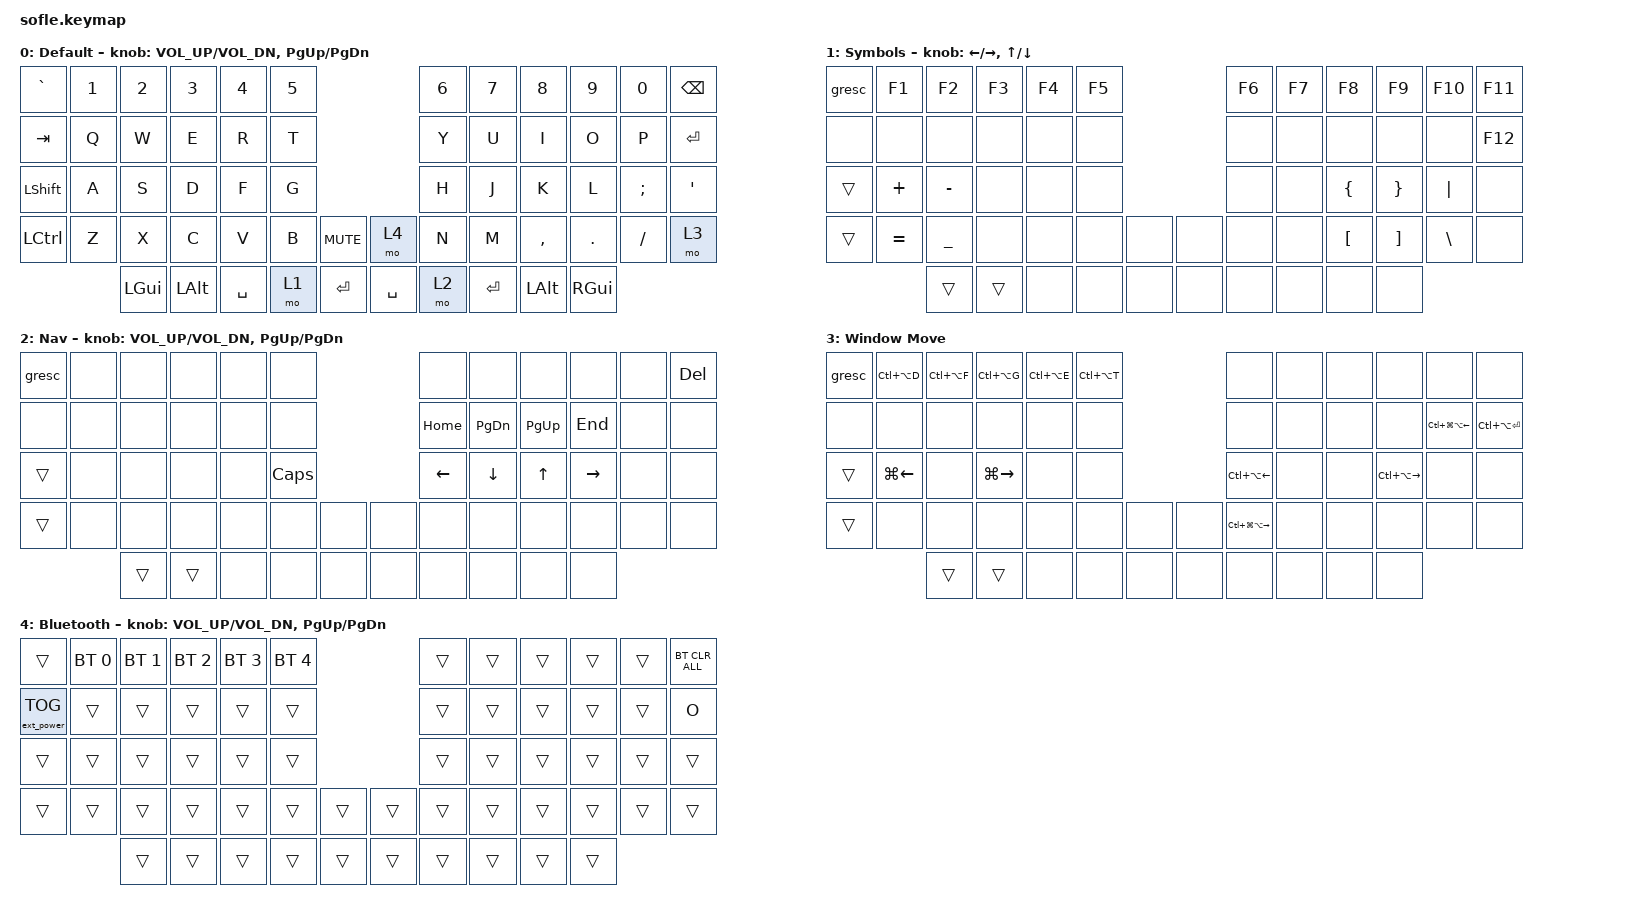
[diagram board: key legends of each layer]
/*
 * Copyright (c) 2020 The ZMK Contributors
 *
 * SPDX-License-Identifier: MIT
 */

#include <behaviors.dtsi>
#include <dt-bindings/zmk/bt.h>
#include <dt-bindings/zmk/ext_power.h>
#include <dt-bindings/zmk/keys.h>

#define BASE 0
#define LOWER 1
#define RAISE 2
#define ADJUST 3

/ {
    // Activate ADJUST layer by pressing raise and lower

    conditional_layers { compatible = "zmk,conditional-layers"; };

    combos {
        compatible = "zmk,combos";

        backspace {
            bindings = <&kp BACKSPACE>;
            key-positions = <32 31>;
        };

        delete {
            bindings = <&kp DELETE>;
            key-positions = <27 33>;
        };

        esc {
            bindings = <&kp ESCAPE>;
            key-positions = <25 41>;
        };
    };

    behaviors {
        caps: caps {
            compatible = "zmk,behavior-caps-word";
            label = "CAPS";
            #binding-cells = <0>;
            continue-list = <POUND MINUS BACKSPACE UNDERSCORE>;
        };
    };

    keymap {
        compatible = "zmk,keymap";

        default_layer {
            display-name = "Default";

            // ------------------------------------------------------------------------------------------------------------
            // |   `   |  1  |  2  |  3   |  4   |  5   |                   |  6   |  7    |  8    |  9   |   0   |       |
            // |  ESC  |  Q  |  W  |  E   |  R   |  T   |                   |  Y   |  U    |  I    |  O   |   P   | BKSPC |
            // |  TAB  |  A  |  S  |  D   |  F   |  G   |                   |  H   |  J    |  K    |  L   |   ;   |   '   |
            // | SHIFT |  Z  |  X  |  C   |  V   |  B   |  MUTE  |  |       |  N   |  M    |  ,    |  .   |   /   | SHIFT |
            //               | GUI | ALT  | CTRL | LOWER|  ENTER |  | SPACE | RAISE| CTRL  | ALT   | GUI  |

            bindings = <
&kp GRAVE         &kp N1  &kp N2    &kp N3    &kp N4     &kp N5                           &kp N6  &kp N7      &kp N8     &kp N9    &kp N0    &kp BACKSPACE
&kp TAB           &kp Q   &kp W     &kp E     &kp R      &kp T                            &kp Y   &kp U       &kp I      &kp O     &kp P     &kp RETURN
&kp LEFT_SHIFT    &kp A   &kp S     &kp D     &kp F      &kp G                            &kp H   &kp J       &kp K      &kp L     &kp SEMI  &kp SQT
&kp LEFT_CONTROL  &kp Z   &kp X     &kp C     &kp V      &kp B   &kp C_MUTE    &mo 4      &kp N   &kp M       &kp COMMA  &kp DOT   &kp FSLH  &mo 3
                          &kp LGUI  &kp LALT  &kp SPACE  &mo 1   &kp ENTER     &kp SPACE  &mo 2   &kp RETURN  &kp LALT   &kp RGUI
            >;

            sensor-bindings = <&inc_dec_kp C_VOL_UP C_VOL_DN &inc_dec_kp PG_UP PG_DN>;
        };

        symbols_layer {
            display-name = "Symbols";

            // TODO: Some binds are waiting for shifted keycode support.
            // ------------------------------------------------------------------------------------------------------------
            // |       |  F1 |  F2 |  F3  |  F4  |  F5  |                   |  F6  |  F7   |  F8   |  F9  |  F10  |  F11  |
            // |   `   |  1  |  2  |  3   |  4   |  5   |                   |  6   |  7    |  8    |  9   |   0   |  F12  |
            // |       |  !  |  @  |  #   |  $   |  %   |                   |  ^   |  &    |  *    |  (   |   )   |   |   |
            // |       |  =  |  -  |  +   |  {   |  }   |        |  |       |  [   |  ]    |  ;    |  :   |   \   |       |
            //               |     |      |      |      |        |  |       |      |       |       |      |

            bindings = <
&gresc  &kp F1     &kp F2     &kp F3  &kp F4  &kp F5                  &kp F6  &kp F7  &kp F8            &kp F9             &kp F10        &kp F11
&none   &none      &none      &none   &none   &none                   &none   &none   &none             &none              &none          &kp F12
&trans  &kp PLUS   &kp MINUS  &none   &none   &none                   &none   &none   &kp LEFT_BRACE    &kp RIGHT_BRACE    &kp PIPE       &none
&trans  &kp EQUAL  &kp UNDER  &none   &none   &none   &none    &none  &none   &none   &kp LEFT_BRACKET  &kp RIGHT_BRACKET  &kp BACKSLASH  &none
                   &trans     &trans  &none   &none   &none    &none  &none   &none   &none             &none
            >;

            sensor-bindings =
                <&inc_dec_kp LEFT_ARROW RIGHT_ARROW>,
                <&inc_dec_kp UP_ARROW DOWN_ARROW>;
        };

        nav_layer {
            display-name = "Nav";

            // ------------------------------------------------------------------------------------------------------------
            // | BTCLR | BT1  | BT2  |  BT3  |  BT4  |  BT5 |                |      |      |       |      |       |       |
            // |       | INS  | PSCR | GUI   |       |      |                | PGUP |      |   ^   |      |       |       |
            // |       | ALT  | CTRL | SHIFT |       | CAPS |                | PGDN |   <- |   v   |  ->  |  DEL  | BKSPC |
            // |       | UNDO | CUT  | COPY  | PASTE |      |      |  |      |      |      |       |      |       |       |
            //                |      |       |       |      |      |  |      |      |      |       |      |

            bindings = <
&gresc  &none  &none   &none   &none  &none                     &none           &none           &none         &none      &none  &kp DEL
&none   &none  &none   &none   &none  &none                     &kp HOME        &kp PAGE_DOWN   &kp PAGE_UP   &kp END    &none  &none
&trans  &none  &none   &none   &none  &kp CLCK                  &kp LEFT_ARROW  &kp DOWN_ARROW  &kp UP_ARROW  &kp RIGHT  &none  &none
&trans  &none  &none   &none   &none  &none     &none    &none  &none           &none           &none         &none      &none  &none
               &trans  &trans  &none  &none     &none    &none  &none           &none           &none         &none
            >;

            sensor-bindings = <&inc_dec_kp C_VOL_UP C_VOL_DN &inc_dec_kp PG_UP PG_DN>;
        };

        window_move_layer {
            bindings = <
&gresc  &kp LC(LA(D))       &kp LC(LA(F))  &kp LC(LA(G))        &kp LC(LA(E))  &kp LC(LA(T))                  &none                        &none  &none  &none                    &none                       &none
&none   &none               &none          &none                &none          &none                          &none                        &none  &none  &none                    &kp LC(LG(LA(LEFT_ARROW)))  &kp LC(LA(RETURN))
&trans  &kp LG(LEFT_ARROW)  &none          &kp LG(RIGHT_ARROW)  &none          &none                          &kp LC(LA(LEFT_ARROW))       &none  &none  &kp LC(LA(RIGHT_ARROW))  &none                       &none
&trans  &none               &none          &none                &none          &none          &none    &none  &kp LC(LG(LA(RIGHT_ARROW)))  &none  &none  &none                    &none                       &none
                            &trans         &trans               &none          &none          &none    &none  &none                        &none  &none  &none
            >;

            label = "Window Move";
        };

        bluetooth_layer {
            // ----------------------------------------------------------------------------------------------------------------------------
            // | BTCLR  |  BT1    |  BT2    |   BT3   |   BT4   |   BT5   |                  |      |      |       |      |       |       |
            // | EXTPWR | RGB_HUD | RGB_HUI | RGB_SAD | RGB_SAI | RGB_EFF |                  |      |      |       |      |       |       |
            // |        | RGB_BRD | RGB_BRI |         |         |         |                  |      |      |       |      |       |       |
            // |        |         |         |         |         |         | RGB_TOG | |      |      |      |       |      |       |       |
            //                    |         |         |         |         |         | |      |      |      |       |      |

            display-name = "Bluetooth";
            bindings = <
&trans             &bt BT_SEL 0  &bt BT_SEL 1  &bt BT_SEL 2  &bt BT_SEL 3  &bt BT_SEL 4                    &trans  &trans  &trans  &trans  &trans  &bt BT_CLR_ALL
&ext_power EP_TOG  &trans        &trans        &trans        &trans        &trans                          &trans  &trans  &trans  &trans  &trans  &kp O
&trans             &trans        &trans        &trans        &trans        &trans                          &trans  &trans  &trans  &trans  &trans  &trans
&trans             &trans        &trans        &trans        &trans        &trans        &trans    &trans  &trans  &trans  &trans  &trans  &trans  &trans
                                 &trans        &trans        &trans        &trans        &trans    &trans  &trans  &trans  &trans  &trans
            >;

            sensor-bindings = <&inc_dec_kp C_VOL_UP C_VOL_DN &inc_dec_kp PG_UP PG_DN>;
        };
    };
};
